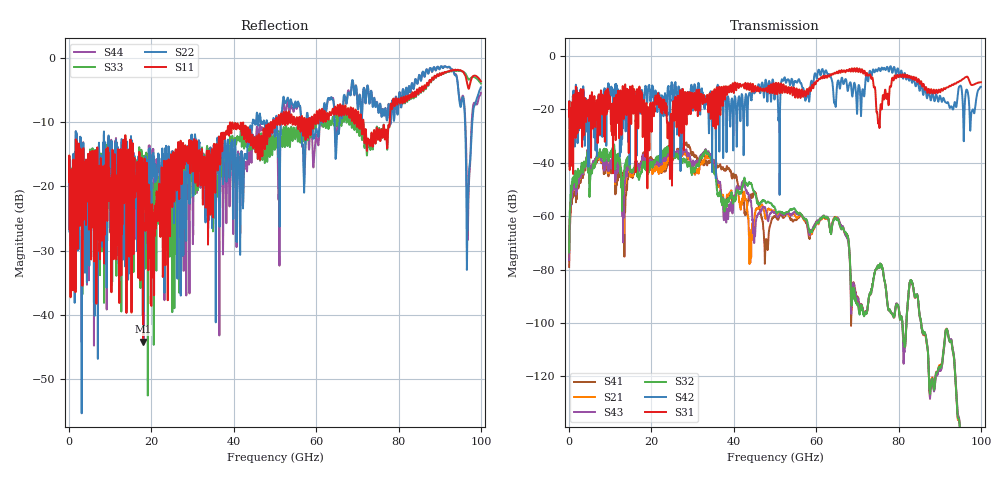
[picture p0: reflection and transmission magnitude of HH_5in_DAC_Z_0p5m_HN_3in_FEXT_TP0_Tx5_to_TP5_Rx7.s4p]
# GHz S RI R 45
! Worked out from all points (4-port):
!   4000 points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, 25 MHz to 100 GHz, reference 45 ohm
!   strongest paths, dB at 25 MHz, 25.02 GHz, 50.02 GHz, 75.03 GHz, 100 GHz:
!     S31: -22.7, -42.9, -13.2, -24.9, -9.8
!     S42: -22.5, -11.1, -12.9, -5.1, -11.5
!     S32: -73.5, -35.5, -57.1, -78.8, -180.8
!     S43: -76.4, -35.6, -58.6, -78.9, -186.5
!     S21: -76.5, -36.3, -58.5, -78.8, -179.6
!     S41: -79.0, -37.1, -60.0, -78.9, -185.4
!   lowest |S11| = -44.2 dB at 17.98 GHz (marker M1), VSWR 1.01, Z = 45.1 - j0.554 ohm
!   |S11| at or under -10 dB: start of sweep to 48.99 GHz; 49.09 GHz to 49.52 GHz (422.7 MHz wide, 0.857 % of centre); 71.51 GHz to 77.87 GHz (6.365 GHz wide, 8.52 % of centre) (the widest 3 of 25)
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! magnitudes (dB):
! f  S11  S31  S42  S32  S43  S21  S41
! 25 MHz  -19.3  -22.7  -22.5  -73.5  -76.4  -76.5  -79.0
! 4.375 GHz  -19.7  -20.0  -20.8  -38.4  -38.0  -37.9  -38.6
! 17.98 GHz  -44.2  -27.0  -17.9  -40.4  -37.4  -38.2  -36.6
! 33.45 GHz  -14.5  -15.9  -17.0  -36.6  -36.1  -37.8  -40.4
! 38.7 GHz  -10.9  -11.6  -15.9  -54.8  -59.3  -53.6  -42.1
! 47.88 GHz  -10.5  -12.1  -9.8  -55.1  -58.1  -60.2  -68.6
! 100 GHz  -3.6  -9.8  -11.5  -180.8  -186.5  -179.6  -185.4
